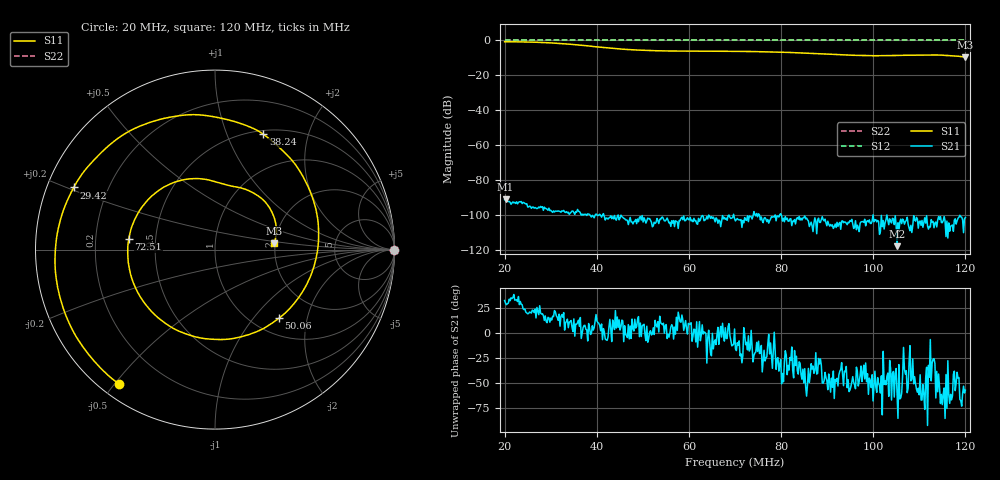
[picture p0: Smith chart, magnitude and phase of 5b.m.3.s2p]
! Anritsu VNA Master:  Model: MS2036C/10/77
! SN:  1601066
! /card0/usr/18may27.balun/5b.m3.s2p
! Existing Calibration Information:
! TYPE:  Current Settings,  Active Cal Settings
! TIME:  05/27/2018 03:56:13 PM,  05/27/2018 03:52:12 PM
! INTERNAL TEMP:  52.3 C,  52.5 C
! # POINTS:  500,  500
! START FREQ:  20.000 MHz,  20.000 MHz
! STOP FREQ:  120.000 MHz,  120.000 MHz
! SOURCE POWER:  High,  High
! IFBW:  50 Hz,  50 Hz
! AVG FACTOR:  1 ,  1
! REF PLANE 1:  0 mm,  0 mm
! REF PLANE 2:  0 mm,  0 mm
! CAL TYPE:  Full S11,  Full S11
! CAL METHOD:  SOLT,  SOLT
! CAL LINE TYPE:  Coax,  Coax
! DUT PORT 1:  K-Conn(M),  K-Conn(M)
! DUT PORT 2:  K-Conn(M),  K-Conn(M)
! CAL STATUS:  OK: Accuracy High,  --
# GHZ S DB R 50.0
! FREQ.GHZ  S11DB  S11A  S21DB  S21A  S12DB  S12A  S22DB  S22A
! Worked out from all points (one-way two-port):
!   500 points, 20 MHz to 120 MHz, reference 50 ohm
!   highest |S21| = -90.91 dB at 20.2 MHz (marker M1); lowest = -117.6 dB at 105.2 MHz (marker M2)
!   lowest |S11| = -9.6 dB at 120 MHz (marker M3), VSWR 1.99, Z = 98.7 + j8 ohm
!   |S11| at or under -10 dB: nowhere
!   |S22| runs from 0.0 to 0.0 dB; largest |S21 - S12| = 1
!   S11 on the Smith chart (normalised r, x): 20 MHz: 0.05, -0.51; 29.42 MHz: 0.08, +0.21; 38.24 MHz: 0.54, +1.36; 50.06 MHz: 1.30, -1.36; 72.51 MHz: 0.35, +0.05; 120 MHz: 1.97, +0.16
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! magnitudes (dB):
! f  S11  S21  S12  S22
! 20 MHz  -0.7  -91.0  0.0  0.0
! 20.2 MHz  -0.7  -90.9  0.0  0.0
! 25.61 MHz  -0.9  -95.0  0.0  0.0
! 29.42 MHz  -1.3  -97.1  0.0  0.0
! 32.63 MHz  -1.8  -97.6  0.0  0.0
! 36.83 MHz  -2.8  -99.3  0.0  0.0
! 38.24 MHz  -3.1  -99.3  0.0  0.0
! 44.25 MHz  -4.7  -102.8  0.0  0.0
! 50.06 MHz  -5.6  -103.8  0.0  0.0
! 53.47 MHz  -5.9  -104.7  0.0  0.0
! 70.1 MHz  -6.2  -103.2  0.0  0.0
! 72.51 MHz  -6.3  -102.9  0.0  0.0
! 79.72 MHz  -6.7  -99.6  0.0  0.0
! 86.73 MHz  -7.4  -106.0  0.0  0.0
! 96.95 MHz  -8.6  -109.3  0.0  0.0
! 99.96 MHz  -8.7  -99.7  0.0  0.0
! 103.4 MHz  -8.7  -105.4  0.0  0.0
! 105.2 MHz  -8.6  -117.6  0.0  0.0
! 111.2 MHz  -8.3  -101.4  0.0  0.0
! 113.8 MHz  -8.3  -106.6  0.0  0.0
! 117.2 MHz  -8.7  -105.5  0.0  0.0
! 120 MHz  -9.6  -101.2  0.0  0.0
